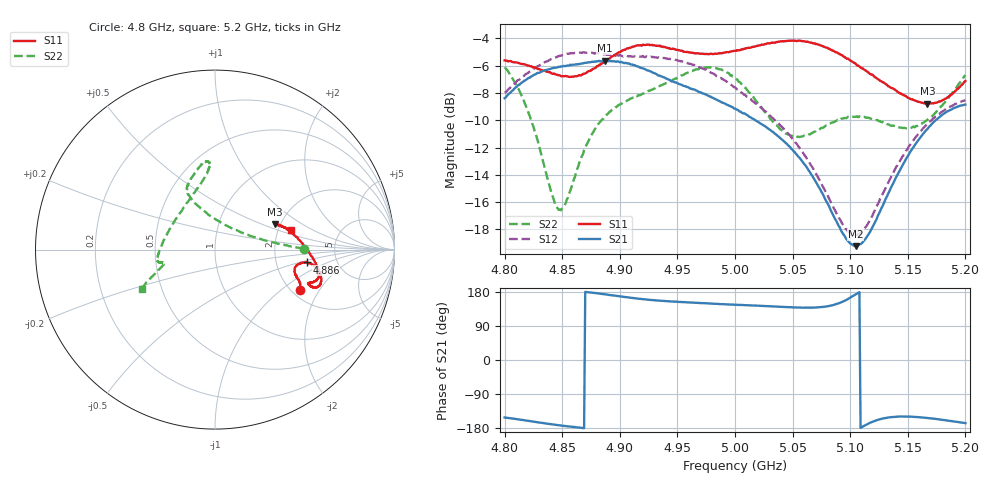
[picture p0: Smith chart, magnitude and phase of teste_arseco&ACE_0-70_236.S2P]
! Network Analyzer HP8722D
! Hewlett-Packard
! Data name: Linha & Wilkinson
! Saver's name: Rodrigo Anjos
! Comments: Teste da utilização de aquisição
! continua pelo VNA HP8722D
! Time and date: 8/5/2025 14:43
!  Frequency  S11  S21  S12  S22
# HZ  S  MA R 50
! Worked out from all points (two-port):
!   401 points, 4.8 GHz to 5.2 GHz, reference 50 ohm
!   highest |S21| = -5.64 dB at 4.887 GHz (marker M1); lowest = -19.2 dB at 5.105 GHz (marker M2)
!   |S21| within 3 dB of the highest: start of sweep to 4.987 GHz
!   lowest |S11| = -8.8 dB at 5.167 GHz (marker M3), VSWR 2.14, Z = 93.6 + j30.8 ohm
!   |S11| at or under -10 dB: nowhere
!   |S22| runs from -16.6 to -6.1 dB; largest |S21 - S12| = 1.1
!   S11 on the Smith chart (normalised r, x): 4.8 GHz: 2.22, -1.36; 4.886 GHz: 3.01, -0.59; 5.2 GHz: 2.36, +0.65
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4.8e9  0.5237 -25.2  0.3808 -151.7  0.3985 7.5  0.4939 0.7
4.82e9  0.5014 -20.4  0.4498 -160.0  0.4699 4.7  0.3433 6.1
4.846e9  0.4632 -16.3  0.4942 -171.7  0.5414 0.3  0.1503 54.2
4.853e9  0.4592 -14.7  0.4991 -174.4  0.5511 -0.8  0.1569 80.3
4.867e9  0.4633 -10.9  0.5102 -179.2  0.5578 -2.8  0.2333 107.8
4.886e9  0.5161 -8.0  0.5207 174.0  0.5507 -3.9  0.3212 115.3
4.887e9  0.5202 -8.1  0.5224 173.4  0.5518 -3.8  0.3272 115.5
4.913e9  0.5905 -12.0  0.5032 163.0  0.5421 -3.0  0.384 113.6
4.934e9  0.5911 -16.6  0.4613 156.6  0.5375 -3.9  0.4205 108.1
4.975e9  0.5533 -19.9  0.3927 149.6  0.4838 -7.5  0.4943 95.7
5e9  0.568 -20.7  0.3487 145.8  0.4168 -7.2  0.4517 94.6
5.018e9  0.5908 -20.9  0.3153 143.6  0.3637 -4.6  0.3734 102.5
5.043e9  0.6163 -18.9  0.2637 140.0  0.2924 0.8  0.2848 130.8
5.067e9  0.6068 -14.0  0.1984 138.2  0.2133 8.5  0.2841 165.2
5.094e9  0.5417 -4.1  0.1209 154.7  0.1306 34.6  0.3213 -173.4
5.105e9  0.5079 0.9  0.1093 173.5  0.12 55.7  0.3256 -169.4
5.116e9  0.4723 6.7  0.121 -167.6  0.1337 76.3  0.3229 -167.5
5.134e9  0.4195 15.3  0.1736 -151.2  0.1905 94.2  0.3044 -166.6
5.151e9  0.3812 21.3  0.2375 -149.4  0.254 99.0  0.2966 -164.9
5.167e9  0.3636 23.1  0.2935 -153.0  0.3064 99.7  0.3173 -161.7
5.183e9  0.3797 20.6  0.3378 -159.2  0.3473 99.6  0.3718 -157.4
5.2e9  0.4404 14.6  0.3607 -166.6  0.3747 100.2  0.4631 -152.0
